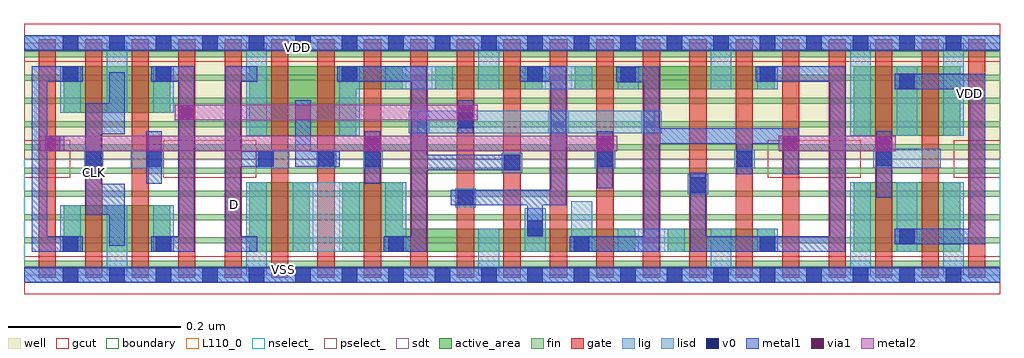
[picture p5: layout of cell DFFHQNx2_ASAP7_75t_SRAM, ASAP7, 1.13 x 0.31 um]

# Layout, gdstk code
import gdstk
lib = gdstk.Library(unit=1e-6, precision=1e-09)
def R(c, l, rs):  # rectangles x0, y0, x1, y1
    for r in rs: c.add(gdstk.rectangle(r[:2], r[2:], *l))
def A(c, l, x, y, w, h, nx, ny, dx, dy):  # array of equal rectangles
    R(c, l, [(x+i*dx, y+j*dy, x+i*dx+w, y+j*dy+h) for i in range(nx) for j in range(ny)])
def P(c, l, *ps):  # polygons
    for p in ps: c.add(gdstk.Polygon(p, *l))
well = (1, 0)
fin = (2, 0)
gate = (7, 0)
gcut = (10, 0)
active_area = (11, 0)
nselect_ = (12, 0)
pselect_ = (13, 0)
lig = (16, 0)
lisd = (17, 0)
v0 = (18, 0)
metal1 = (19, 0)
metal2 = (20, 0)
via1 = (21, 0)
sdt = (88, 0)
boundary = (100, 0)
L110_0 = (110, 0)

dffhqnx2_asap7_75t_sram = lib.new_cell('DFFHQNx2_ASAP7_75t_SRAM')
R(dffhqnx2_asap7_75t_sram, well, [(0,0.135,1.134,0.27)])
A(dffhqnx2_asap7_75t_sram, fin, 0, 0.01, 1.134, 0.007, 1, 10, 0, 0.027)
A(dffhqnx2_asap7_75t_sram, gate, 0.017, -0.003, 0.02, 0.277, 21, 1, 0.054, 0)
R(dffhqnx2_asap7_75t_sram, gcut, [(0,-0.022,1.134,0.022), (0,0.113,0.054,0.157), (0.162,0.113,0.27,0.157), (0.864,0.113,0.972,0.157), (1.08,0.113,1.134,0.157), (0,0.248,1.134,0.292)])
R(dffhqnx2_asap7_75t_sram, active_area, [(0.046,0.027,0.17,0.081), (0.262,0.027,0.332,0.108), (0.748,0.027,0.872,0.054), (0.964,0.027,1.088,0.108), (0.964,0.162,1.088,0.243), (0.046,0.189,0.17,0.243), (0.478,0.216,0.602,0.243), (0.64,0.216,0.872,0.243)])
P(dffhqnx2_asap7_75t_sram, active_area, [(0.44,0.243),(0.262,0.243),(0.262,0.162),(0.386,0.162),(0.386,0.216),(0.44,0.216)],
  [(0.71,0.054),(0.44,0.054),(0.44,0.108),(0.37,0.108),(0.37,0.027),(0.71,0.027)])
R(dffhqnx2_asap7_75t_sram, nselect_, [(0,0,1.134,0.135)])
R(dffhqnx2_asap7_75t_sram, pselect_, [(0,0.135,1.134,0.27)])
R(dffhqnx2_asap7_75t_sram, lig, [(0,-0.008,1.134,0.008), (0.501,0.079,0.525,0.101), (0.771,0.094,0.795,0.117), (0.555,0.119,0.579,0.142), (0.07,0.124,0.092,0.146), (0.124,0.124,0.162,0.146), (0.27,0.124,0.308,0.146), (0.34,0.124,0.363,0.146), (0.394,0.124,0.417,0.146), (0.663,0.124,0.687,0.146), (0.825,0.124,0.849,0.146), (0.987,0.125,1.065,0.147), (0.447,0.165,0.471,0.191), (0.609,0.165,0.633,0.191), (0.717,0.165,0.741,0.191), (0,0.262,1.134,0.278)])
R(dffhqnx2_asap7_75t_sram, lisd, [(0.096,0,0.12,0.081), (0.258,0,0.282,0.108), (0.528,0,0.552,0.054), (0.798,0,0.822,0.054), (0.96,0,0.984,0.108), (1.068,0,1.092,0.108), (0.042,0.027,0.066,0.081), (0.15,0.027,0.174,0.081), (0.312,0.027,0.39,0.108), (0.42,0.027,0.444,0.108), (0.582,0.027,0.606,0.078), (0.636,0.027,0.66,0.086), (0.69,0.027,0.768,0.054), (0.852,0.027,0.876,0.054), (1.014,0.027,1.038,0.108), (0.258,0.162,0.282,0.27), (0.366,0.162,0.39,0.243), (0.96,0.162,0.984,0.27), (1.014,0.162,1.038,0.243), (1.068,0.162,1.092,0.27), (0.457,0.165,0.733,0.191), (0.042,0.189,0.066,0.243), (0.096,0.189,0.12,0.27), (0.15,0.189,0.174,0.243), (0.42,0.216,0.498,0.243), (0.528,0.216,0.552,0.27), (0.582,0.216,0.66,0.243), (0.69,0.216,0.714,0.243), (0.798,0.216,0.822,0.27), (0.852,0.216,0.876,0.243)])
A(dffhqnx2_asap7_75t_sram, v0, 0.045, -0.009, 0.018, 0.018, 20, 2, 0.054, 0.27)
A(dffhqnx2_asap7_75t_sram, v0, 0.423, 0.027, 0.018, 0.018, 3, 1, 0.216, 0)
A(dffhqnx2_asap7_75t_sram, v0, 0.153, 0.225, 0.018, 0.018, 3, 1, 0.216, 0)
R(dffhqnx2_asap7_75t_sram, v0, [(0.045,0.027,0.063,0.045), (0.153,0.027,0.171,0.045), (1.017,0.036,1.035,0.054), (0.585,0.045,0.603,0.063), (0.504,0.081,0.522,0.099), (0.774,0.096,0.792,0.114), (0.558,0.122,0.576,0.14), (0.072,0.126,0.09,0.144), (0.142,0.126,0.16,0.144), (0.272,0.126,0.29,0.144), (0.342,0.126,0.36,0.144), (0.396,0.126,0.414,0.144), (0.666,0.126,0.684,0.144), (0.828,0.126,0.846,0.144), (0.99,0.127,1.008,0.145), (0.504,0.171,0.522,0.189), (1.017,0.216,1.035,0.234), (0.693,0.224,0.711,0.242), (0.045,0.225,0.063,0.243), (0.855,0.225,0.873,0.243)])
R(dffhqnx2_asap7_75t_sram, metal1, [(0,-0.009,1.134,0.009), (0.99,0.09,1.008,0.167), (0.666,0.101,0.684,0.167), (0.142,0.106,0.16,0.167), (0.396,0.106,0.414,0.167), (0.504,0.165,0.522,0.203), (0,0.261,1.134,0.279)])
P(dffhqnx2_asap7_75t_sram, metal1, [(0.068,0.045),(0.027,0.045),(0.027,0.144),(0.047,0.144),(0.047,0.162),(0.027,0.162),(0.027,0.225),(0.068,0.225),(0.068,0.243),(0.009,0.243),(0.009,0.027),(0.068,0.027)],
  [(0.117,0.106),(0.09,0.106),(0.09,0.164),(0.117,0.164),(0.117,0.236),(0.099,0.236),(0.099,0.2),(0.072,0.2),(0.072,0.07),(0.099,0.07),(0.099,0.034),(0.117,0.034)],
  [(0.198,0.243),(0.148,0.243),(0.148,0.225),(0.18,0.225),(0.18,0.045),(0.148,0.045),(0.148,0.027),(0.198,0.027)],
  [(0.29,0.144),(0.252,0.144),(0.252,0.225),(0.271,0.225),(0.271,0.243),(0.234,0.243),(0.234,0.027),(0.271,0.027),(0.271,0.045),(0.252,0.045),(0.252,0.126),(0.29,0.126)],
  [(0.367,0.144),(0.333,0.144),(0.333,0.203),(0.315,0.203),(0.315,0.126),(0.367,0.126)],
  [(0.576,0.14),(0.468,0.14),(0.468,0.243),(0.364,0.243),(0.364,0.225),(0.45,0.225),(0.45,0.045),(0.418,0.045),(0.418,0.027),(0.468,0.027),(0.468,0.122),(0.576,0.122)],
  [(0.63,0.243),(0.576,0.243),(0.576,0.225),(0.612,0.225),(0.612,0.099),(0.496,0.099),(0.496,0.081),(0.585,0.081),(0.585,0.045),(0.603,0.045),(0.603,0.081),(0.63,0.081)],
  [(0.9,0.171),(0.738,0.171),(0.738,0.242),(0.688,0.242),(0.688,0.224),(0.72,0.224),(0.72,0.045),(0.634,0.045),(0.634,0.027),(0.738,0.027),(0.738,0.153),(0.828,0.153),(0.828,0.117),(0.846,0.117),(0.846,0.153),(0.882,0.153),(0.882,0.117),(0.9,0.117)],
  [(0.954,0.243),(0.85,0.243),(0.85,0.225),(0.936,0.225),(0.936,0.045),(0.792,0.045),(0.792,0.119),(0.774,0.119),(0.774,0.027),(0.954,0.027)],
  [(1.117,0.234),(1.012,0.234),(1.012,0.216),(1.099,0.216),(1.099,0.054),(1.012,0.054),(1.012,0.036),(1.117,0.036)])
R(dffhqnx2_asap7_75t_sram, metal2, [(0.019,0.144,0.689,0.162), (0.877,0.144,1.013,0.162), (0.175,0.18,0.527,0.198)])
R(dffhqnx2_asap7_75t_sram, via1, [(0.024,0.144,0.042,0.162), (0.142,0.144,0.16,0.162), (0.396,0.144,0.414,0.162), (0.666,0.144,0.684,0.162), (0.882,0.144,0.9,0.162), (0.99,0.144,1.008,0.162), (0.18,0.18,0.198,0.198), (0.315,0.18,0.333,0.198), (0.504,0.18,0.522,0.198)])
A(dffhqnx2_asap7_75t_sram, sdt, 0.042, 0.027, 0.024, 0.054, 3, 2, 0.054, 0.162)
A(dffhqnx2_asap7_75t_sram, sdt, 0.258, 0.027, 0.024, 0.081, 4, 1, 0.054, 0)
A(dffhqnx2_asap7_75t_sram, sdt, 0.528, 0.027, 0.024, 0.027, 7, 1, 0.054, 0)
A(dffhqnx2_asap7_75t_sram, sdt, 0.96, 0.027, 0.024, 0.081, 3, 2, 0.054, 0.135)
A(dffhqnx2_asap7_75t_sram, sdt, 0.42, 0.216, 0.024, 0.027, 6, 1, 0.054, 0)
R(dffhqnx2_asap7_75t_sram, sdt, [(0.258,0.162,0.282,0.243), (0.366,0.162,0.39,0.243), (0.798,0.216,0.822,0.243), (0.852,0.216,0.876,0.243)])
R(dffhqnx2_asap7_75t_sram, boundary, [(0,0,1.134,0.27)])
R(dffhqnx2_asap7_75t_sram, L110_0, [(0,0,1.134,0.27)])
dffhqnx2_asap7_75t_sram.add(gdstk.Label('VDD', (1.099,0.211), layer=1, texttype=251))
dffhqnx2_asap7_75t_sram.add(gdstk.Label('VSS', (0.302,0.007), layer=19, texttype=251))
dffhqnx2_asap7_75t_sram.add(gdstk.Label('VDD', (0.318,0.264), layer=19, texttype=251))
dffhqnx2_asap7_75t_sram.add(gdstk.Label('QN', (1.085,0.225), layer=19, texttype=251))
dffhqnx2_asap7_75t_sram.add(gdstk.Label('CLK', (0.082,0.119), layer=19, texttype=251))
dffhqnx2_asap7_75t_sram.add(gdstk.Label('D', (0.244,0.082), layer=19, texttype=251))
dffhqnx2_asap7_75t_sram.add(gdstk.Label('VSS', (1.168,0.21), layer=3, texttype=251))

lib.write_gds('DFFHQNx2_ASAP7_75t_SRAM.gds')
